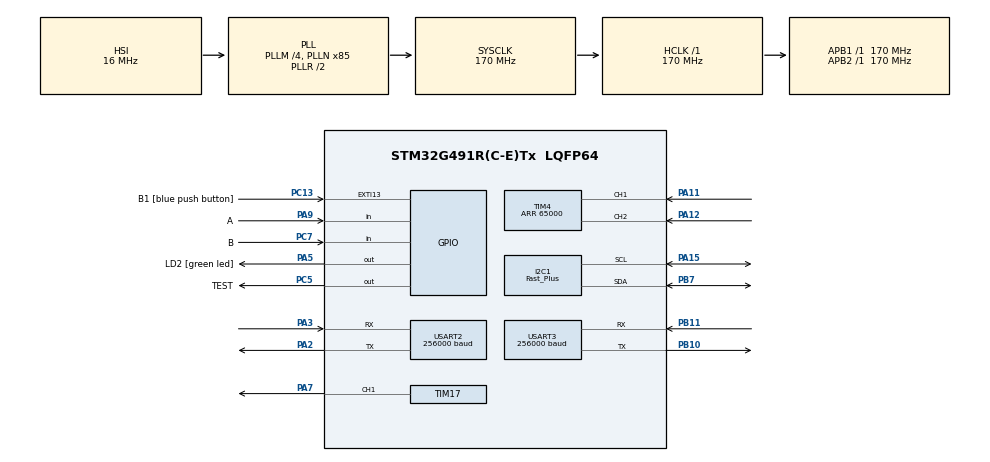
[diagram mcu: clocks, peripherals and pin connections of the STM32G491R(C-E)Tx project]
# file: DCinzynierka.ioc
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Dma.Request0=USART3_RX
Dma.Request1=USART2_RX
Dma.USART2_RX.1.Direction=DMA_PERIPH_TO_MEMORY
Dma.USART2_RX.1.EventEnable=DISABLE
Dma.USART2_RX.1.Instance=DMA1_Channel2
Dma.USART2_RX.1.MemDataAlignment=DMA_MDATAALIGN_BYTE
Dma.USART2_RX.1.MemInc=DMA_MINC_ENABLE
Dma.USART2_RX.1.Mode=DMA_NORMAL
Dma.USART2_RX.1.PeriphDataAlignment=DMA_PDATAALIGN_BYTE
Dma.USART2_RX.1.PeriphInc=DMA_PINC_DISABLE
Dma.USART2_RX.1.Polarity=HAL_DMAMUX_REQ_GEN_RISING
Dma.USART2_RX.1.Priority=DMA_PRIORITY_LOW
Dma.USART2_RX.1.RequestNumber=1
Dma.USART2_RX.1.SignalID=NONE
Dma.USART2_RX.1.SyncEnable=DISABLE
Dma.USART2_RX.1.SyncPolarity=HAL_DMAMUX_SYNC_NO_EVENT
Dma.USART2_RX.1.SyncRequestNumber=1
Dma.USART2_RX.1.SyncSignalID=NONE
Dma.USART3_RX.0.Direction=DMA_PERIPH_TO_MEMORY
Dma.USART3_RX.0.EventEnable=DISABLE
Dma.USART3_RX.0.Instance=DMA1_Channel1
Dma.USART3_RX.0.MemDataAlignment=DMA_MDATAALIGN_BYTE
Dma.USART3_RX.0.MemInc=DMA_MINC_ENABLE
Dma.USART3_RX.0.Mode=DMA_NORMAL
Dma.USART3_RX.0.PeriphDataAlignment=DMA_PDATAALIGN_BYTE
Dma.USART3_RX.0.PeriphInc=DMA_PINC_DISABLE
Dma.USART3_RX.0.Polarity=HAL_DMAMUX_REQ_GEN_RISING
Dma.USART3_RX.0.Priority=DMA_PRIORITY_LOW
Dma.USART3_RX.0.RequestNumber=1
Dma.USART3_RX.0.SignalID=NONE
Dma.USART3_RX.0.SyncEnable=DISABLE
Dma.USART3_RX.0.SyncPolarity=HAL_DMAMUX_SYNC_NO_EVENT
Dma.USART3_RX.0.SyncRequestNumber=1
Dma.USART3_RX.0.SyncSignalID=NONE
I2C1.Analog_Filter=I2C_ANALOGFILTER_ENABLE
I2C1.I2C_Coeff_DF=0
I2C1.I2C_Speed_Mode=I2C_Fast_Plus
I2C1.Timing=0x00802172
Mcu.Family=STM32G4
Mcu.Name=STM32G491R(C-E)Tx
Mcu.Package=LQFP64
NVIC.DMA1_Channel1_IRQn=true\:0\:0\:false\:false\:true\:false\:true
NVIC.DMA1_Channel2_IRQn=true\:0\:0\:false\:false\:true\:false\:true
NVIC.EXTI15_10_IRQn=true\:0\:0\:false\:false\:true\:true\:true
NVIC.PriorityGroup=NVIC_PRIORITYGROUP_4
NVIC.TIM1_BRK_TIM15_IRQn=true\:0\:0\:false\:false\:true\:true\:true
NVIC.TIM2_IRQn=true\:0\:0\:false\:false\:true\:true\:true
NVIC.TIM3_IRQn=true\:0\:0\:false\:false\:true\:true\:true
NVIC.USART3_IRQn=true\:0\:0\:false\:false\:true\:true\:true
PA11.Signal=S_TIM4_CH1
PA12.Signal=S_TIM4_CH2
PA13.GPIO_Label=T_SWDIO
PA13.Mode=Serial_Wire
PA13.Signal=SYS_JTMS-SWDIO
PA14.GPIO_Label=T_SWCLK
PA14.Mode=Serial_Wire
PA14.Signal=SYS_JTCK-SWCLK
PA15.Mode=I2C
PA15.Signal=I2C1_SCL
PA2.Mode=Asynchronous
PA2.Signal=USART2_TX
PA3.Mode=Asynchronous
PA3.Signal=USART2_RX
PA5.GPIO_Label=LD2 [green led]
PA5.Signal=GPIO_Output
PA7.Signal=S_TIM17_CH1
PA9.GPIO_Label=A
PA9.Signal=GPIO_Input
PB10.Mode=Asynchronous
PB10.Signal=USART3_TX
PB11.Mode=Asynchronous
PB11.Signal=USART3_RX
PB3.GPIO_Label=T_SWO
PB3.Signal=SYS_JTDO-SWO
PB7.Mode=I2C
PB7.Signal=I2C1_SDA
PC13.GPIO_Label=B1 [blue push button]
PC13.Signal=GPXTI13
PC14-OSC32_IN.Mode=LSE-External-Oscillator
PC14-OSC32_IN.Signal=RCC_OSC32_IN
PC15-OSC32_OUT.Mode=LSE-External-Oscillator
PC15-OSC32_OUT.Signal=RCC_OSC32_OUT
PC5.GPIO_Label=TEST
PC5.Signal=GPIO_Output
PC7.GPIO_Label=B
PC7.Signal=GPIO_Input
PF0-OSC_IN.Mode=HSE-External-Oscillator
PF0-OSC_IN.Signal=RCC_OSC_IN
PF1-OSC_OUT.Mode=HSE-External-Oscillator
PF1-OSC_OUT.Signal=RCC_OSC_OUT
ProjectManager.HeapSize=0x200
ProjectManager.StackSize=0x400
ProjectManager.TargetToolchain=STM32CubeIDE
RCC.ADC12Freq_Value=170000000
RCC.ADC345Freq_Value=170000000
RCC.AHBFreq_Value=170000000
RCC.APB1Freq_Value=170000000
RCC.APB1TimFreq_Value=170000000
RCC.APB2Freq_Value=170000000
RCC.APB2TimFreq_Value=170000000
RCC.CortexFreq_Value=170000000
RCC.EXTERNAL_CLOCK_VALUE=12288000
RCC.HCLKFreq_Value=170000000
RCC.HSE_VALUE=24000000
RCC.HSI48_VALUE=48000000
RCC.HSI_VALUE=16000000
RCC.PLLM=RCC_PLLM_DIV4
RCC.PLLN=85
RCC.RTCClockSelection=RCC_RTCCLKSOURCE_LSE
RCC.SYSCLKFreq_VALUE=170000000
RCC.SYSCLKSource=RCC_SYSCLKSOURCE_PLLCLK
RCC.USBFreq_Value=48000000
RCC.VCOOutputFreq_Value=340000000
SH.S_TIM17_CH1.0=TIM17_CH1,PWM Generation1 CH1
SH.S_TIM4_CH1.0=TIM4_CH1,Encoder_Interface
SH.S_TIM4_CH2.0=TIM4_CH2,Encoder_Interface
TIM15.PeriodNoDither=9999
TIM15.Prescaler=169
TIM17.Channel=TIM_CHANNEL_1
TIM17.PeriodNoDither=9999
TIM17.Prescaler=16
TIM2.PeriodNoDither=999
TIM2.Prescaler=169
TIM3.PeriodNoDither=9999
TIM3.Prescaler=16999
TIM4.EncoderMode=TIM_ENCODERMODE_TI12
TIM4.PeriodNoDither=65000
USART2.BaudRate=256000
USART2.VirtualMode-Asynchronous=VM_ASYNC
USART3.BaudRate=256000
USART3.VirtualMode-Asynchronous=VM_ASYNC
VP_SYS_VS_DBSignals.Mode=DisableDeadBatterySignals
VP_TIM15_VS_ClockSourceINT.Mode=Internal
VP_TIM17_VS_ClockSourceINT.Mode=Enable_Timer
VP_TIM2_VS_ClockSourceINT.Mode=Internal
VP_TIM3_VS_ClockSourceINT.Mode=Internal
board=NUCLEO-G491RE

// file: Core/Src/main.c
/* USER CODE BEGIN Header */
/**
 ******************************************************************************
 * @file           : main.c
 * @brief          : Main program body
 ******************************************************************************
 * @attention
 *
 * <h2><center>&copy; Copyright (c) 2022 STMicroelectronics.
 * All rights reserved.</center></h2>
 *
 * This software component is licensed by ST under BSD 3-Clause license,
 * the "License"; You may not use this file except in compliance with the
 * License. You may obtain a copy of the License at:
 *                        opensource.org/licenses/BSD-3-Clause
 *
 ******************************************************************************
 */
/* USER CODE END Header */
#include "main.h"
#include "dma.h"
#include "i2c.h"
#include "tim.h"
#include "usart.h"
#include "gpio.h"

/* USER CODE BEGIN Includes */
#include "stdio.h"
#include "stdbool.h"
#include "INA219.h"
#include "math.h"
/* USER CODE END Includes */

/* USER CODE BEGIN PV */
int pwm = 0;
float uW;
// SILNIK DC
volatile int32_t count;
volatile int16_t speed = 0;
volatile int16_t speed_1 = 0; // do rysowania
volatile int16_t speed_prev;
float number = 15; // dla czasu 10ms
// UART
char msg[64];

uint8_t data[100]; // Tablica przechowujaca wysylana wiadomosc.
uint16_t size = 0;
uint8_t Received[10];
//
//volatile float Kpw = 3.0f;
//volatile float Kiw = 0.1f;
//volatile float Kpi = 1.0f;
//volatile float Kii = 5.65f;
volatile float Kpw = 1.0f;
volatile float Kiw = 0.01f;
volatile float Kpi = 0.07f;
volatile float Kii = 5.0f;

volatile int WZZ = 2; //zadana predkosc obrotowa
volatile int KRK = 1; //zadana ilosc krokow
_Bool LogFlag = 0;
volatile _Bool Flaga = false;
volatile _Bool Flaga2 = false;
volatile _Bool Flaga3 = false;
volatile _Bool Flaga4 = false;
//pomiar pradu
INA219_t ina219;
volatile float vbus, vshunt, current;
volatile float currentW;
volatile float current1 = 0.0f;
volatile float current2 = 0.0f;
volatile float currentObsv;
volatile float Tf = 0.2f;

//FILTR
volatile float currentPre3 = 0.0f;
volatile float currentPre2 = 0.0f;
volatile float currentPre1 = 0.0f;
float w1 = 1.0f;
float w2 = 1.0f;
float w3 = 1.0f;
float w4 = 1.0f;
//Wszystkie wartości z czapy
//Nastawy regulatora prądu

//Nastawy regulatora prędkości

//Warunki początkowe, okres, wypełnienie
float prevIntI = 0.0f;
float prevErrorI = 0.0f;
float prevIntW = 0.0f;
float prevErrorW = 0.0f;
volatile uint16_t duty; // PWM %
volatile uint16_t duty2; // PWM %
volatile float setValueW = 1000.0f; // value of omega- setpoint
volatile float setValueI = 500.0f; //value of I- setpoint
float Tp = 0.01f; //Sample time
volatile float Wmess; // zmierzona omega
volatile float Imess; // zmierzony prąd
float kFi = 0.127f; // stała elektromotoryczna napędu;
volatile int REG = 0;
volatile int PWM = 0;
int32_t cntT = 0;
int32_t cntW = 0;

/* USER CODE END PV */

void SystemClock_Config(void);

/* USER CODE BEGIN 0 */
void HAL_TIM_PeriodElapsedCallback(TIM_HandleTypeDef *htim) {
	if (htim->Instance == TIM15) {
		cntT++;

		if (HAL_GPIO_ReadPin(A_GPIO_Port, A_Pin) == SET
				&& HAL_GPIO_ReadPin(B_GPIO_Port, B_Pin) == SET) {
			 htim17.Instance->CCR1 = 0;
			 prevIntI = 0.0f;
			 prevErrorI = 0.0f;
			 prevIntW = 0.0f;
			 prevErrorW = 0.0f;
		}

		if ((HAL_GPIO_ReadPin(A_GPIO_Port, A_Pin) == RESET &&
				HAL_GPIO_ReadPin(B_GPIO_Port, B_Pin) == RESET) ||
				(HAL_GPIO_ReadPin(A_GPIO_Port, A_Pin) == SET
						&& HAL_GPIO_ReadPin(B_GPIO_Port, B_Pin) == SET)) {
			 htim17.Instance->CCR1 = 0;
			 prevIntI = 0.0f;
			 prevErrorI = 0.0f;
			 prevIntW = 0.0f;
			 prevErrorW = 0.0f;

		}

	if (HAL_GPIO_ReadPin(A_GPIO_Port, A_Pin) == SET
				&& HAL_GPIO_ReadPin(B_GPIO_Port, B_Pin) == RESET) {
			if (REG == 0) {
				htim17.Instance->CCR1 = duty;
			}
			else if (REG == 1) {
				TorqueControl();
			}
			else if (REG == 2) {
				CascadeControl();
			}
		}
		if (HAL_GPIO_ReadPin(A_GPIO_Port, A_Pin) == RESET
				&& HAL_GPIO_ReadPin(B_GPIO_Port, B_Pin) == SET) {

			if (REG == 0) {
				htim17.Instance->CCR1 = duty;
			}
			else if (REG == 1) {

			}
			else if (REG == 2) {
				CascadeControl();
			}
		}
		if (__HAL_TIM_IS_TIM_COUNTING_DOWN(&htim4)) {
			count = __HAL_TIM_GET_COUNTER(&htim4);
			count = 65000 - count;
			speed = -number * count / 4; //obr min

			__HAL_TIM_SET_COUNTER(&htim4, 0);

		} else if (!__HAL_TIM_IS_TIM_COUNTING_DOWN(&htim4)) {
			count = __HAL_TIM_GET_COUNTER(&htim4);
			speed = number * count / 4; //obr min

			__HAL_TIM_SET_COUNTER(&htim4, 0);
		}

		if (speed > 5000 || speed < -5000) {
			speed_1 = 0;
		} else
			speed_1 = speed;

		if (LogFlag == 1) {
			if(REG==1)
			size = sprintf(data, "d %.2f %d %.2f %d \r\n", currentW, speed_1,
					vbus / 1000.0f,(uint16_t) round( duty2 / 100.0f));
			else
				size = sprintf(data, "d %.2f %d %.2f %d \r\n", currentW, speed_1,
						vbus / 1000.0f,(uint16_t) round( duty / 100.0f));
			HAL_UART_Transmit(&huart2, data, size, 1000);
		}
		//uruchomic konwersje na przetworniku , przerwanie od konca konwersji

		if (!Flaga4) {
			Flaga3 = true;
		}

	}
	if (htim->Instance == TIM2) {

		if (HAL_GPIO_ReadPin(A_GPIO_Port, A_Pin) == SET
				&& HAL_GPIO_ReadPin(B_GPIO_Port, B_Pin) == RESET) {
			if (REG == 1) {
				if (!Flaga2) {
					Flaga = true;
				}

				TorqueControl();
			}
		}
		if (HAL_GPIO_ReadPin(A_GPIO_Port, A_Pin) == RESET
				&& HAL_GPIO_ReadPin(B_GPIO_Port, B_Pin) == SET) {
			if (REG == 1) {
				if (!Flaga2) {
					Flaga = true;
				}
				TorqueControl();
			}
		}

	}

	if (htim->Instance == TIM3) {

		size = sprintf(data, "p %.2f %.2f %.2f %.2f %.2f %.2f %d %d \r\n",
				setValueI, setValueW, Kpw, Kiw, Kpi, Kii, (uint16_t) round(duty / 100.0f), REG); // @suppress("Float formatting support")
		HAL_UART_Transmit(&huart2, data, size, 1000);

	}

}

void TorqueControl() {
	Tp = 0.001;
	float uI;
	Imess = current; //Pomiar prądu
	float errorI = setValueI - Imess; // pytanie jak się ma zmierzony prąd do uW do zbadania
	//P prądu
	float uKpI = Kpi * errorI;
	//I prądu
	float errorSumI = errorI + prevErrorI + prevIntI;
	prevErrorI = errorI;
	float uKiI = errorSumI * Tp / 2.0f * Kii;
	prevIntI = errorSumI;
	uI = uKpI + uKiI;
	duty2 = (uint16_t) uI; // pytanie czy to uI będzie w sensownych wartościach czy np tylko małe
	if (duty2 > 9999) {
		duty2 = 9999;
	}
	htim17.Instance->CCR1 = duty2; //Odpowiedni timer od PWM silnika musi mieć takie duty
}
void CascadeControl() {
	Tp=0.01;
	Wmess = speed_1 * 3.14f / 30.0f; //Tutaj mierzenie prędkości
	if (Wmess < 0) {
		Wmess = -speed_1 * 3.14f / 30.0f;
	}

	float uI;
	float errorW2 = setValueW * 3.14f / 30.0f - Wmess;
	float errorW = setValueW * 3.14f / 30.0f - Wmess;
	//P omega
	float uKpW = Kpw * errorW2;
	//I omega
	float errorSumW = errorW + prevErrorW + prevIntW;
	prevErrorW = errorW;
	float uKiW = errorSumW * Tp / 2.0f * Kiw;
	prevIntW = errorSumW;
	uW = (uKpW + uKiW) / kFi ; // wartość zadana dla regulatora prądu
	if(uW>3000.0f)
	{
		uW=3000.0f;
	}

	Imess = currentW/1000.0f; // Tutaj mierzenie prądu
	float errorI = uW - Imess; // pytanie jak się ma zmierzony prąd do uW do zbadania
	//P prądu
	float uKpI = Kpi * errorI;
	//I prądu
	float errorSumI = errorI + prevErrorI + prevIntI;
	prevErrorI = errorI;
	float uKiI = errorSumI * Tp / 2.0f * Kii;
	prevIntI = errorSumI;
	uI = uKpI + uKiI;
	duty = (uint16_t) uI; // pytanie czy to uI będzie w sensownych wartościach czy np tylko małe
	if (duty > 9999) {
		duty = 9999;
	}
	htim17.Instance->CCR1 = duty; //Odpowiedni timer od PWM silnika musi mieć takie duty
}

void HAL_UART_RxCpltCallback(UART_HandleTypeDef *huart) {
	if (huart == &huart2) {

		unsigned int value = 0; //wartość do wpisania do nastawy
		char str[3];
		uint8_t Received_str[3]; // słowo okreslajace nastawe
		uint8_t Received_val[5]; // zmienna pomocnicza do przechowywania wartości zadanej z UART
		//przepisanie wartości do nowego bufora ostatnie 5 znakow okresla liczbe do wpisania dla nastawy
		for (int i = 0; i < 5; i++) {
			Received_val[i] = Received[3 + i];
		}
		int rx_n = sscanf((char*) Received_val, "%d", &value);

		if (Received[0] == 'K' && Received[1] == 'P' && Received[2] == 'W') {
			//wpisanie wartosci do zmiennej

			if (rx_n == 1) {
				Kpw = value / 100.0f;

			}
		}

		// jesli komenda dotyczy Kiw( wzmocnienie calkowania petli predkosci) to ustaw wartosc
		if (Received[0] == 'K' && Received[1] == 'I' && Received[2] == 'W') {
			//wpisanie wartosci do zmiennej

			if (rx_n == 1) {
				Kiw = value / 100.0f;
			}
		}
		// jesli komenda dotyczy Kdw( wzmocnienie różniczkowania petli predkosci) to ustaw wartosc

		// jesli komenda dotyczy Kpi( wzmocnienie petli pradu) to ustaw wartosc
		if (Received[0] == 'K' && Received[1] == 'P' && Received[2] == 'I') {
			//wpisanie wartosci do zmiennej

			if (rx_n == 1) {
				Kpi = value / 100.0f;
			}
		}
		// jesli komenda dotyczy Kii( wzmocnienie calkowania petli pradu) to ustaw wartosc
		if (Received[0] == 'K' && Received[1] == 'I' && Received[2] == 'I') {
			//wpisanie wartosci do zmiennej

			if (rx_n == 1) {
				Kii = value / 100.0f;
			}
		}
		// jesli komenda dotyczy Kdw( wzmocnienie różniczkowania petli pradu) to ustaw wartosc
		if (Received[0] == 'I' && Received[1] == 'Z' && Received[2] == 'Z') {
			//wpisanie wartosci do zmiennej

			if (rx_n == 1) {
				setValueI = value;
			}
		}

		//jeśli komenda dotyczy predkosci ustaw predkosc
		if (Received[0] == 'W' && Received[1] == 'Z' && Received[2] == 'Z') {
			//wpisanie wartosci do zmiennej

			if (rx_n == 1) {
				setValueW = value;
			}
		}
		if (Received[0] == 'P' && Received[1] == 'W' && Received[2] == 'M') {
			//wpisanie wartosci do zmiennej

			if (rx_n == 1) {
				duty = value * 9999 / 100;
				if (duty > 9999) {
					duty = 9999;
				}

			}
		}

		if (Received[0] == 'D' && Received[1] == 'O' && Received[2] == 'F') {
			//wpisanie wartosci do zmiennej

			if (rx_n == 1) {

				LogFlag = false;

			}
		}
		if (Received[0] == 'D' && Received[1] == 'O' && Received[2] == 'N') {
			//wpisanie wartosci do zmiennej

			if (rx_n == 1) {

				LogFlag = true;

			}
		}
		if (Received[0] == 'R' && Received[1] == 'E' && Received[2] == 'G') {
			//wpisanie wartosci do zmiennej

			if (rx_n == 1) {
				if (value == 0)
					REG = 0;
				else if (value == 1)
					REG = 1;
				else if (value == 2)
					REG = 2;

			}
		}

		HAL_UART_Receive_DMA(&huart2, Received, 8);

	}
}

/* USER CODE END 0 */

int main(void)
{

  /* MCU Configuration--------------------------------------------------------*/

  /* Reset of all peripherals, Initializes the Flash interface and the Systick. */
  HAL_Init();

  /* Configure the system clock */
  SystemClock_Config();

  /* Initialize all configured peripherals */
  MX_GPIO_Init();
  MX_TIM15_Init();
  MX_TIM17_Init();
  MX_DMA_Init();
  MX_USART3_UART_Init();
  MX_TIM4_Init();
  MX_I2C1_Init();
  MX_USART2_UART_Init();
  MX_TIM3_Init();
  MX_TIM2_Init();
  /* USER CODE BEGIN 2 */
	//timer do PWM DC
	HAL_TIM_PWM_Start(&htim17, TIM_CHANNEL_1);
	__HAL_TIM_SET_COMPARE(&htim17, TIM_CHANNEL_1, 9999);
	// timer do przerwań- pomiar predkosci silnika dc
	HAL_TIM_Base_Start_IT(&htim15);
	HAL_TIM_Base_Start_IT(&htim3);
	HAL_TIM_Base_Start_IT(&htim2);
	// timer do enkodera DC
	HAL_TIM_Encoder_Start(&htim4, TIM_CHANNEL_ALL);
	HAL_UART_Receive_DMA(&huart2, Received, 8);
	INA219_Init(&ina219, &hi2c1, INA219_ADDRESS);
	while (!INA219_Init(&ina219, &hi2c1, INA219_ADDRESS)) {
		HAL_GPIO_TogglePin(LD2_GPIO_Port, LD2_Pin);
	}
//	   INA219_setPowerMode(&ina219, INA219_CONFIG_MODE_ADCOFF);
	vbus = INA219_ReadBusVoltage(&ina219);
	vshunt = INA219_ReadShuntVolage(&ina219);
	current = INA219_ReadCurrent(&ina219);
  /* USER CODE END 2 */

  /* Infinite loop */
  /* USER CODE BEGIN WHILE */
	while (1) {

		if (Flaga) {
			cntW++;
			Flaga2 = true;

			vbus = INA219_ReadBusVoltage(&ina219);
			current = INA219_ReadCurrent(&ina219);
//			if(current>100.0f){
//				current = (w1*currentPre3+w2*currentPre2+w3*currentPre1+w4*current)/(w1+w2+w3+w4);
//				currentPre3 = currentPre2;
//				currentPre2 = currentPre1;
//				currentPre1 = current;
//			}
			vshunt = INA219_ReadShuntVolage(&ina219);

			Flaga = false;
			Flaga2 = false;
		}
		if (Flaga3) {
			cntW++;
			Flaga4 = true;

			vbus = INA219_ReadBusVoltage(&ina219);
			currentW = INA219_ReadCurrent(&ina219);
			vshunt = INA219_ReadShuntVolage(&ina219);

			Flaga3 = false;
			Flaga4 = false;
		}
		HAL_Delay(0);
    /* USER CODE END WHILE */

	}
}

void SystemClock_Config(void)
{
  RCC_OscInitTypeDef RCC_OscInitStruct = {0};
  RCC_ClkInitTypeDef RCC_ClkInitStruct = {0};
  RCC_PeriphCLKInitTypeDef PeriphClkInit = {0};

  /** Configure the main internal regulator output voltage
  */
  HAL_PWREx_ControlVoltageScaling(PWR_REGULATOR_VOLTAGE_SCALE1_BOOST);
  /** Initializes the RCC Oscillators according to the specified parameters
  * in the RCC_OscInitTypeDef structure.
  */
  RCC_OscInitStruct.OscillatorType = RCC_OSCILLATORTYPE_HSI;
  RCC_OscInitStruct.HSIState = RCC_HSI_ON;
  RCC_OscInitStruct.HSICalibrationValue = RCC_HSICALIBRATION_DEFAULT;
  RCC_OscInitStruct.PLL.PLLState = RCC_PLL_ON;
  RCC_OscInitStruct.PLL.PLLSource = RCC_PLLSOURCE_HSI;
  RCC_OscInitStruct.PLL.PLLM = RCC_PLLM_DIV4;
  RCC_OscInitStruct.PLL.PLLN = 85;
  RCC_OscInitStruct.PLL.PLLP = RCC_PLLP_DIV2;
  RCC_OscInitStruct.PLL.PLLQ = RCC_PLLQ_DIV2;
  RCC_OscInitStruct.PLL.PLLR = RCC_PLLR_DIV2;
  if (HAL_RCC_OscConfig(&RCC_OscInitStruct) != HAL_OK)
  {
    Error_Handler();
  }
  /** Initializes the CPU, AHB and APB buses clocks
  */
  RCC_ClkInitStruct.ClockType = RCC_CLOCKTYPE_HCLK|RCC_CLOCKTYPE_SYSCLK
                              |RCC_CLOCKTYPE_PCLK1|RCC_CLOCKTYPE_PCLK2;
  RCC_ClkInitStruct.SYSCLKSource = RCC_SYSCLKSOURCE_PLLCLK;
  RCC_ClkInitStruct.AHBCLKDivider = RCC_SYSCLK_DIV1;
  RCC_ClkInitStruct.APB1CLKDivider = RCC_HCLK_DIV1;
  RCC_ClkInitStruct.APB2CLKDivider = RCC_HCLK_DIV1;

  if (HAL_RCC_ClockConfig(&RCC_ClkInitStruct, FLASH_LATENCY_4) != HAL_OK)
  {
    Error_Handler();
  }
  /** Initializes the peripherals clocks
  */
  PeriphClkInit.PeriphClockSelection = RCC_PERIPHCLK_USART2|RCC_PERIPHCLK_USART3
                              |RCC_PERIPHCLK_I2C1;
  PeriphClkInit.Usart2ClockSelection = RCC_USART2CLKSOURCE_PCLK1;
  PeriphClkInit.Usart3ClockSelection = RCC_USART3CLKSOURCE_PCLK1;
  PeriphClkInit.I2c1ClockSelection = RCC_I2C1CLKSOURCE_PCLK1;
  if (HAL_RCCEx_PeriphCLKConfig(&PeriphClkInit) != HAL_OK)
  {
    Error_Handler();
  }
}

void Error_Handler(void)
{
	__disable_irq();
	while (1) {
	}
}

/************************ (C) COPYRIGHT STMicroelectronics *****END OF FILE****/
